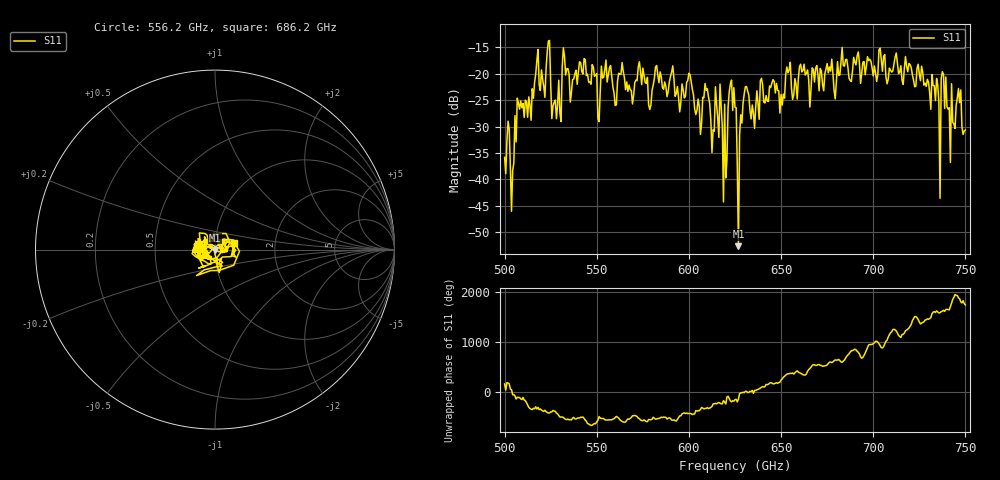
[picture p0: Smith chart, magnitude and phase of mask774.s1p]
!Created with skrf (http://scikit-rf.org).
# GHz S MA R 50.0
!freq magS11 angS11
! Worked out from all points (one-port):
!   401 points, 500 GHz to 750 GHz, reference 50 ohm
!   lowest |S11| = -52.6 dB at 626.9 GHz (marker M1), VSWR 1.00, Z = 49.8 - j0.153 ohm
!   |S11| at or under -10 dB: start of sweep to end of sweep
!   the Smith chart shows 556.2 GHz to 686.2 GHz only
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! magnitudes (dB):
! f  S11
! 500 GHz  -35.8
! 504.4 GHz  -38.3
! 508.1 GHz  -26.7
! 513.1 GHz  -24.4
! 517.5 GHz  -17.5
! 523.8 GHz  -13.8
! 526.9 GHz  -25.4
! 531.2 GHz  -18.7
! 562.5 GHz  -20.1
! 593.8 GHz  -22.4
! 610 GHz  -22.9
! 612.5 GHz  -34.9
! 616.2 GHz  -32.1
! 619.4 GHz  -25.8
! 622.5 GHz  -21.9
! 625 GHz  -26.3
! 626.9 GHz  -52.6
! 631.2 GHz  -22.4
! 634.4 GHz  -25.9
! 656.2 GHz  -24.9
! 687.5 GHz  -21.3
! 718.8 GHz  -19.6
! 733.1 GHz  -22.3
! 735 GHz  -22.2
! 738.1 GHz  -20.1
! 743.1 GHz  -29.2
! 746.2 GHz  -22.8
! 750 GHz  -30.7
